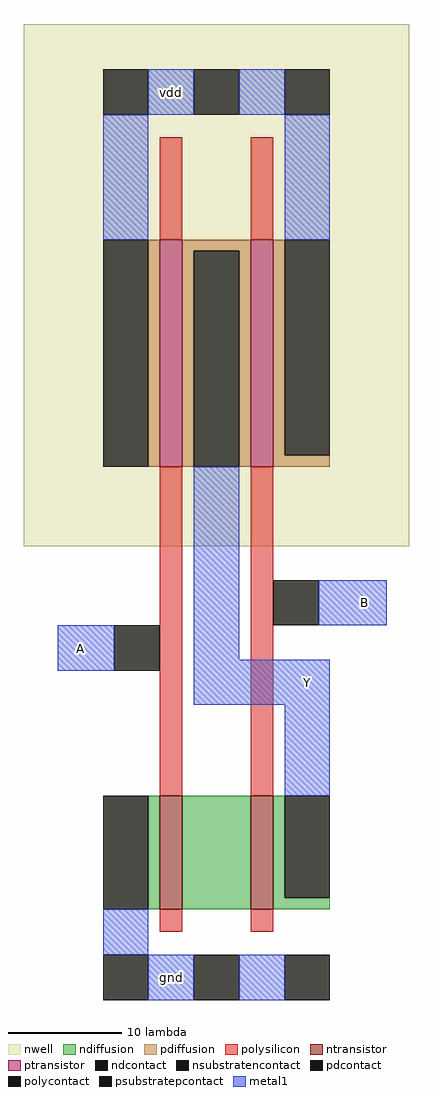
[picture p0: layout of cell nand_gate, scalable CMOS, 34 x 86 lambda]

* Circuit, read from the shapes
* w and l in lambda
.subckt nand_gate A B Y gnd vdd
M1 n1 A gnd gnd nfet w=10 l=2
M2 Y B n1 gnd nfet w=10 l=2
M3 Y A vdd vdd pfet w=20 l=2
M4 vdd B Y vdd pfet w=20 l=2
.ends

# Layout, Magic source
magic
tech scmos
<< nwell >>
rect -17 -10 17 36
<< ntransistor >>
rect -5 -42 -3 -32
rect 3 -42 5 -32
<< ptransistor >>
rect -5 -3 -3 17
rect 3 -3 5 17
<< ndiffusion >>
rect -6 -42 -5 -32
rect -3 -42 3 -32
rect 5 -41 6 -32
rect 5 -42 10 -41
<< pdiffusion >>
rect -6 -3 -5 17
rect -3 16 3 17
rect -3 -3 -2 16
rect 2 -3 3 16
rect 5 -2 6 17
rect 5 -3 10 -2
<< ndcontact >>
rect -10 -42 -6 -32
rect 6 -41 10 -32
<< pdcontact >>
rect -10 -3 -6 17
rect -2 -3 2 16
rect 6 -2 10 17
<< psubstratepcontact >>
rect -10 -50 -6 -46
rect -2 -50 2 -46
rect 6 -50 10 -46
<< nsubstratencontact >>
rect -10 28 -6 32
rect -2 28 2 32
rect 6 28 10 32
<< polysilicon >>
rect -5 17 -3 26
rect 3 17 5 26
rect -5 -32 -3 -3
rect 3 -32 5 -3
rect -5 -44 -3 -42
rect 3 -44 5 -42
<< polycontact >>
rect -9 -21 -5 -17
rect 5 -17 9 -13
<< metal1 >>
rect -6 28 -2 32
rect 2 28 6 32
rect -10 17 -6 28
rect 6 17 10 28
rect -14 -21 -9 -17
rect -2 -20 2 -3
rect 9 -17 15 -13
rect -2 -24 10 -20
rect 6 -32 10 -24
rect -10 -46 -6 -42
rect -6 -50 -2 -46
rect 2 -50 6 -46
<< labels >>
rlabel metal1 -4 30 -4 30 1 vdd
rlabel metal1 -4 -48 -4 -48 1 gnd
rlabel metal1 -12 -19 -12 -19 3 A
rlabel metal1 13 -15 13 -15 7 B
rlabel metal1 8 -22 8 -22 1 Y
<< end >>
